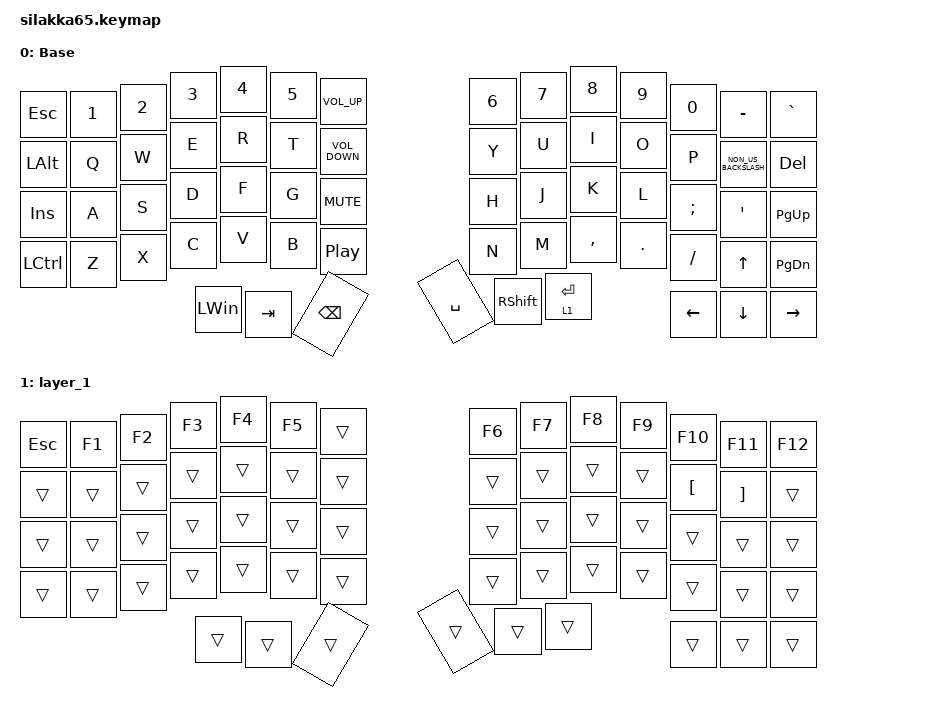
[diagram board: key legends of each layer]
#include <behaviors.dtsi>
#include <dt-bindings/zmk/keys.h>

/ {
    combos {
        compatible = "zmk,combos";
        combo_studio_unlock {
            timeout-ms = <50>;
            key-positions = <6 42 56 57>;
            bindings = <&studio_unlock>;
        };
    };

    keymap {
        compatible = "zmk,keymap";

        default_layer {
            display-name = "Base";
            bindings = <
&kp ESC      &kp NUMBER_1  &kp NUMBER_2  &kp NUMBER_3  &kp NUMBER_4  &kp N5   &kp C_VOLUME_UP                 &kp NUMBER_6     &kp N7     &kp N8     &kp N9      &kp N0          &kp MINUS             &kp GRAVE
&kp LEFT_ALT &kp Q         &kp W         &kp E         &kp R         &kp T    &kp C_VOLUME_DOWN               &kp Y            &kp U      &kp I      &kp O       &kp P           &kp NON_US_BACKSLASH  &kp DELETE
&kp INSERT   &kp A         &kp S         &kp D         &kp F         &kp G    &kp K_MUTE                      &kp H            &kp J      &kp K      &kp L       &kp SEMICOLON   &kp SQT               &kp PAGE_UP
&kp LCTRL    &kp Z         &kp X         &kp C         &kp V         &kp B    &kp C_PLAY_PAUSE                &kp N            &kp M      &kp COMMA  &kp PERIOD  &kp SLASH       &kp UP_ARROW          &kp PAGE_DOWN
                                                       &kp LEFT_WIN  &kp TAB  &kp BACKSPACE         &kp SPACE  &kp RIGHT_SHIFT  &lt 1 ENTER                         &kp LEFT_ARROW  &kp DOWN_ARROW        &kp RIGHT_ARROW
            >;
        };

        layer_1 {
            bindings = <
&kp ESC  &kp F1  &kp F2  &kp F3  &kp F4  &kp F5  &trans            &kp F6  &kp F7  &kp F8  &kp F9  &kp F10   &kp F11   &kp F12
&trans   &trans  &trans  &trans  &trans  &trans  &trans            &trans  &trans  &trans  &trans  &kp LBKT  &kp RBKT  &trans
&trans   &trans  &trans  &trans  &trans  &trans  &trans            &trans  &trans  &trans  &trans  &trans    &trans    &trans
&trans   &trans  &trans  &trans  &trans  &trans  &trans            &trans  &trans  &trans  &trans  &trans    &trans    &trans
                                 &trans  &trans  &trans    &trans  &trans  &trans                  &trans    &trans    &trans
            >;
        };
    };
};
